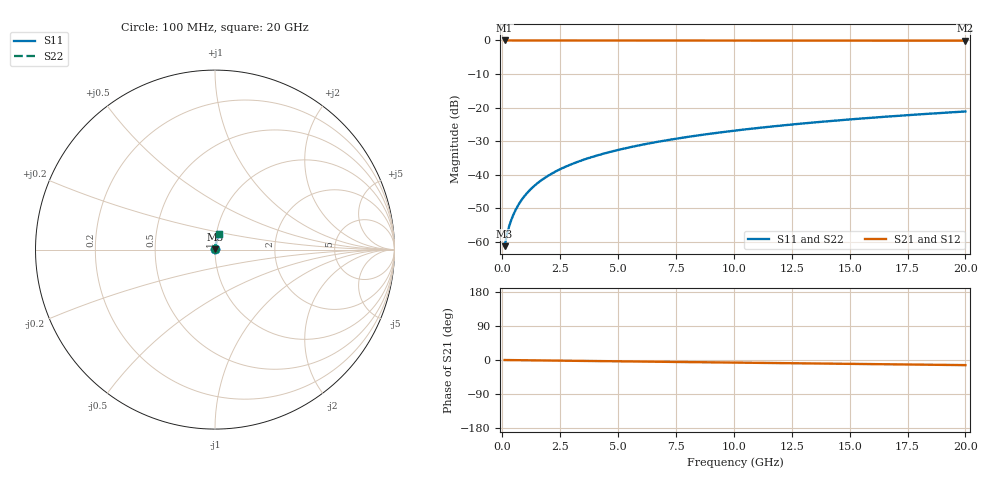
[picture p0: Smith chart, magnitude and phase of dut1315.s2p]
! Touchstone file exported from HFSS 2026.1.0
!  File:  C:/ffzhzh/LocalFiles/Ansys_Project_Files/temp_train_BSMRDL_1315_1783178421_55132.aedt
!  Generated:  11:21:34 PM Jul  4, 2026
!  Design:  BSMRDL
!  Project:  temp_train_BSMRDL_1315_1783178421_55132
! Variables:
!  h_bsmrdl = 5.68um
!  h_ox = 20um
!  h_rdl = 5um
!  h_sub = 80um
!  h_tmrdl = 5um
!  h_tsv = 80um
!  h_via = 3um
!  l_bsmrdl = 199.42um
!  l_sub = 599.42um
!  l_tmrdl = 200um
!  m_sub = 200um
!  pitch = 41.16um
!  r_tsv = 6um
!  s_tmrdl = 10um
!  w_bsmrdl = 25.79um
!  w_sub = 500um
!  w_tmrdl = 12um
!  x_tsv_center1 = 206um
!  x_tsv_center2 = 431.21um
!  x_tsv_center3 = 643.21um
!  x_tsv_center4 = 868.42um
!  x_tsv_center5 = 1080.42um
!  x_tsv_center6 = 1305.63um
# GHz S MA R 50.000000
! Terminal data exported
! Port[1] = BSM_RDL1_1_T1
! Port[2] = BSM_RDL1_1_T2
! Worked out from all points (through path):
!   200 points, 100 MHz to 20 GHz, reference 50 ohm
!   highest |S21| = -0.01 dB at 100 MHz (marker M1); lowest = -0.1 dB at 20 GHz (marker M2)
!   group delay of S21, straight-line fit = 1.87 ps
!   lowest |S11| = -61.2 dB at 100 MHz (marker M3), VSWR 1.00, Z = 50.1 + j0.0576 ohm
!   |S11| at or under -10 dB: start of sweep to end of sweep
!   |S22| runs from -61.2 to -21.1 dB; largest |S21 - S12| = 5.4e-15
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0.1  0.0008676 41.5  0.9994 -0.1  0.9994 -0.1  0.0008676 41.5
! Gamma 0 0 0 0
! Port Impedance 50 0 50 0
0.2  0.001298 56.5  0.9993 -0.1  0.9993 -0.1  0.001298 56.5
0.3  0.001738 64.0  0.9992 -0.2  0.9992 -0.2  0.001738 64.0
0.4  0.002189 68.8  0.9992 -0.3  0.9992 -0.3  0.002189 68.8
0.5  0.002649 72.0  0.9992 -0.4  0.9992 -0.4  0.002649 72.0
0.6  0.003117 74.3  0.9992 -0.4  0.9992 -0.4  0.003117 74.3
0.8  0.004065 77.3  0.9991 -0.6  0.9991 -0.6  0.004065 77.3
1.1  0.005501 79.7  0.9991 -0.8  0.9991 -0.8  0.005501 79.7
1.3  0.006459 80.5  0.999 -0.9  0.999 -0.9  0.006459 80.5
1.5  0.007415 81.1  0.999 -1.1  0.999 -1.1  0.007415 81.1
1.8  0.008842 81.7  0.9989 -1.3  0.9989 -1.3  0.008842 81.7
2.1  0.01026 81.9  0.9988 -1.5  0.9988 -1.5  0.01026 81.9
2.7  0.01306 82.1  0.9985 -1.9  0.9985 -1.9  0.01306 82.1
3.5  0.01673 82.0  0.9983 -2.4  0.9983 -2.4  0.01673 82.0
4.2  0.01988 81.9  0.998 -2.9  0.998 -2.9  0.01988 81.9
5  0.02345 81.6  0.9977 -3.5  0.9977 -3.5  0.02345 81.6
6.8  0.03139 80.9  0.9971 -4.7  0.9971 -4.7  0.03139 80.9
8.3  0.03794 80.2  0.9966 -5.7  0.9966 -5.7  0.03794 80.2
10.1  0.04575 79.3  0.9959 -6.9  0.9959 -6.9  0.04575 79.3
13.4  0.05992 77.5  0.9947 -9.1  0.9947 -9.1  0.05992 77.5
16.7  0.0739 75.6  0.9933 -11.3  0.9933 -11.3  0.0739 75.6
20  0.08767 73.7  0.9918 -13.5  0.9918 -13.5  0.08767 73.7
